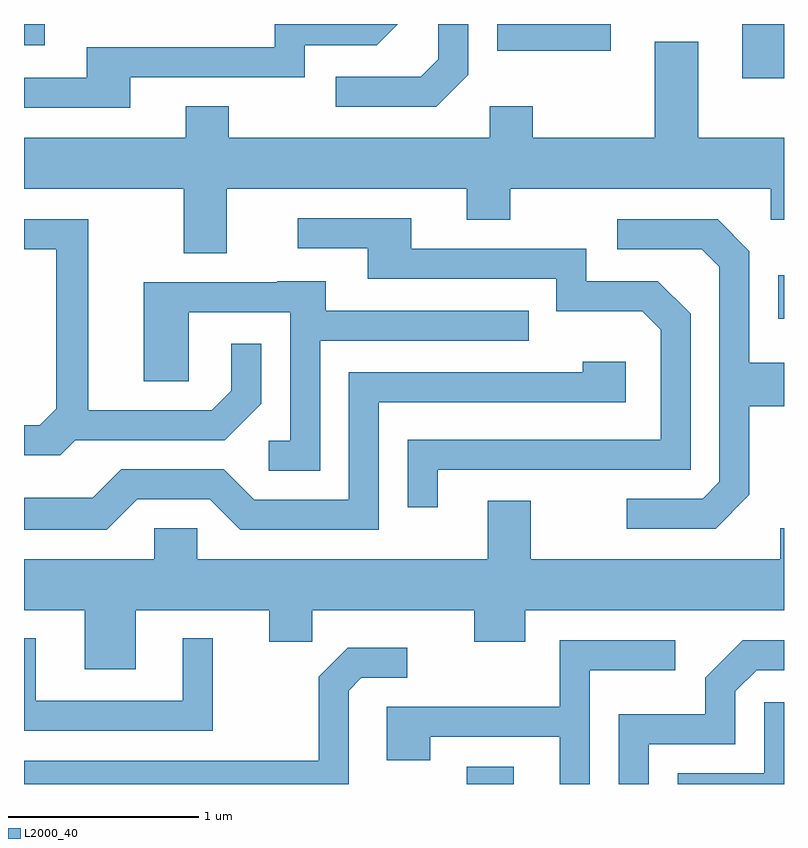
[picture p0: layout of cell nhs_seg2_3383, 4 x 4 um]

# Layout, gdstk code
import gdstk
lib = gdstk.Library(unit=1e-6, precision=1e-09)
def R(c, l, rs):  # rectangles x0, y0, x1, y1
    for r in rs: c.add(gdstk.rectangle(r[:2], r[2:], *l))
def P(c, l, *ps):  # polygons
    for p in ps: c.add(gdstk.Polygon(p, *l))
L2000_40 = (2000, 40)

nhs_seg2_3383 = lib.new_cell('nhs_seg2_3383')
R(nhs_seg2_3383, L2000_40, [(285.941,1091.802,286.189,1091.894), (287.581,1094.251,287.611,1094.479), (287.391,1095.516,287.611,1095.802), (286.101,1095.661,286.699,1095.802), (283.611,1095.691,283.719,1095.802)])
P(nhs_seg2_3383, L2000_40, [(285.949,1095.534),(285.949,1095.802),(285.791,1095.802),(285.791,1095.617),(285.699,1095.524),(285.253,1095.524),(285.253,1095.366),(285.782,1095.366)],
  [(284.169,1095.521),(285.089,1095.521),(285.089,1095.691),(285.467,1095.691),(285.577,1095.802),(284.931,1095.802),(284.931,1095.679),(283.941,1095.679),(283.941,1095.519),(283.611,1095.519),(283.611,1095.361),(284.169,1095.361)],
  [(284.679,1094.936),(285.941,1094.936),(285.941,1094.771),(286.169,1094.771),(286.169,1094.936),(287.541,1094.936),(287.541,1094.771),(287.611,1094.771),(287.611,1095.204),(287.159,1095.204),(287.159,1095.709),(286.931,1095.709),(286.931,1095.204),(286.289,1095.204),(286.289,1095.369),(286.061,1095.369),(286.061,1095.204),(284.689,1095.204),(284.689,1095.369),(284.461,1095.369),(284.461,1095.204),(283.611,1095.204),(283.611,1094.936),(284.451,1094.936),(284.451,1094.596),(284.679,1094.596)],
  [(285.789,1093.456),(287.119,1093.456),(287.119,1094.277),(286.947,1094.449),(286.569,1094.449),(286.569,1094.619),(285.649,1094.619),(285.649,1094.779),(285.053,1094.779),(285.053,1094.621),(285.421,1094.621),(285.421,1094.461),(286.411,1094.461),(286.411,1094.291),(286.864,1094.291),(286.961,1094.194),(286.961,1093.614),(285.631,1093.614),(285.631,1093.258),(285.789,1093.258)],
  [(283.882,1093.611),(284.667,1093.611),(284.859,1093.804),(284.859,1094.118),(284.701,1094.118),(284.701,1093.872),(284.599,1093.769),(283.949,1093.769),(283.949,1094.774),(283.611,1094.774),(283.611,1094.616),(283.781,1094.616),(283.781,1093.777),(283.694,1093.689),(283.611,1093.689),(283.611,1093.531),(283.802,1093.531)],
  [(287.429,1093.324),(287.429,1093.791),(287.611,1093.791),(287.611,1094.019),(287.429,1094.019),(287.429,1094.607),(287.262,1094.774),(286.733,1094.774),(286.733,1094.616),(287.179,1094.616),(287.271,1094.524),(287.271,1093.392),(287.184,1093.304),(286.783,1093.304),(286.783,1093.146),(287.252,1093.146)],
  [(285.169,1094.136),(286.268,1094.136),(286.268,1094.294),(285.199,1094.294),(285.199,1094.449),(284.945,1094.449),(284.945,1094.444),(284.241,1094.444),(284.241,1093.921),(284.479,1093.921),(284.479,1094.286),(285.011,1094.286),(285.011,1093.609),(284.898,1093.609),(284.898,1093.451),(285.169,1093.451)],
  [(284.207,1093.301),(284.589,1093.301),(284.749,1093.141),(285.479,1093.141),(285.479,1093.811),(286.779,1093.811),(286.779,1094.024),(286.551,1094.024),(286.551,1093.969),(285.321,1093.969),(285.321,1093.299),(284.822,1093.299),(284.662,1093.459),(284.124,1093.459),(283.974,1093.309),(283.611,1093.309),(283.611,1093.141),(284.047,1093.141)],
  [(284.199,1092.716),(284.901,1092.716),(284.901,1092.551),(285.129,1092.551),(285.129,1092.716),(285.981,1092.716),(285.981,1092.551),(286.249,1092.551),(286.249,1092.716),(287.611,1092.716),(287.611,1093.149),(287.591,1093.149),(287.591,1092.984),(286.279,1092.984),(286.279,1093.294),(286.051,1093.294),(286.051,1092.984),(284.524,1092.984),(284.524,1093.149),(284.296,1093.149),(284.296,1092.984),(283.611,1092.984),(283.611,1092.716),(283.931,1092.716),(283.931,1092.406),(284.199,1092.406)],
  [(284.604,1092.568),(284.446,1092.568),(284.446,1092.239),(283.674,1092.239),(283.674,1092.568),(283.611,1092.568),(283.611,1092.081),(284.604,1092.081)],
  [(286.899,1092.011),(287.354,1092.011),(287.354,1092.289),(287.467,1092.401),(287.611,1092.401),(287.611,1092.559),(287.394,1092.559),(287.196,1092.362),(287.196,1092.169),(286.741,1092.169),(286.741,1091.802),(286.899,1091.802)],
  [(286.589,1092.401),(287.038,1092.401),(287.038,1092.559),(286.431,1092.559),(286.431,1092.209),(285.521,1092.209),(285.521,1091.926),(285.749,1091.926),(285.749,1092.051),(286.431,1092.051),(286.431,1091.802),(286.589,1091.802)],
  [(285.319,1092.294),(285.387,1092.361),(285.628,1092.361),(285.628,1092.519),(285.314,1092.519),(285.161,1092.367),(285.161,1091.924),(283.611,1091.924),(283.611,1091.802),(285.319,1091.802)],
  [(287.611,1092.233),(287.506,1092.233),(287.506,1091.859),(287.051,1091.859),(287.051,1091.802),(287.611,1091.802)])

lib.write_gds('nhs_seg2_3383.gds')
